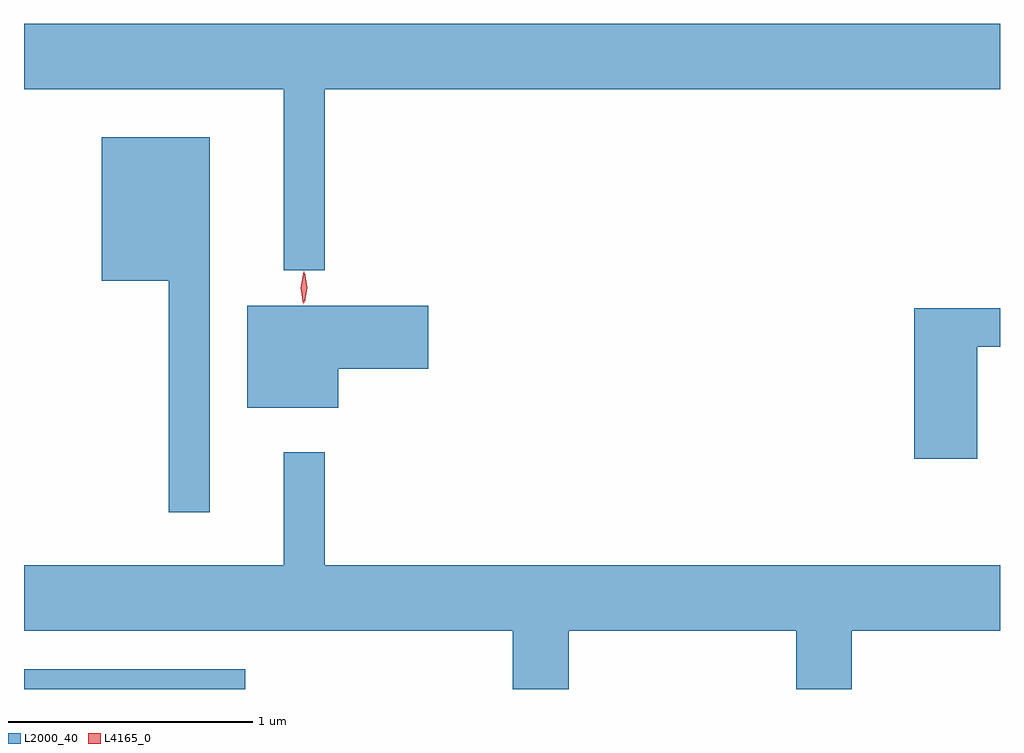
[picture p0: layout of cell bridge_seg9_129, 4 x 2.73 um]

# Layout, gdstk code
import gdstk
lib = gdstk.Library(unit=1e-6, precision=1e-09)
def R(c, l, rs):  # rectangles x0, y0, x1, y1
    for r in rs: c.add(gdstk.rectangle(r[:2], r[2:], *l))
def P(c, l, *ps):  # polygons
    for p in ps: c.add(gdstk.Polygon(p, *l))
L2000_40 = (2000, 40)
L4165_0 = (4165, 0)

bridge_seg9_129 = lib.new_cell('bridge_seg9_129')
R(bridge_seg9_129, L2000_40, [(1336.417,2022.657,1337.324,2022.739)])
P(bridge_seg9_129, L2000_40, [(1337.649,2025.116),(1340.417,2025.116),(1340.417,2025.384),(1336.417,2025.384),(1336.417,2025.116),(1337.481,2025.116),(1337.481,2024.373),(1337.649,2024.373)],
  [(1337.179,2024.919),(1336.736,2024.919),(1336.736,2024.331),(1337.011,2024.331),(1337.011,2023.383),(1337.179,2023.383)],
  [(1337.704,2023.971),(1338.074,2023.971),(1338.074,2024.229),(1337.331,2024.229),(1337.331,2023.811),(1337.704,2023.811)],
  [(1340.324,2024.061),(1340.417,2024.061),(1340.417,2024.219),(1340.066,2024.219),(1340.066,2023.601),(1340.324,2023.601)],
  [(1338.649,2022.896),(1339.581,2022.896),(1339.581,2022.657),(1339.809,2022.657),(1339.809,2022.896),(1340.417,2022.896),(1340.417,2023.164),(1337.649,2023.164),(1337.649,2023.628),(1337.481,2023.628),(1337.481,2023.164),(1336.417,2023.164),(1336.417,2022.896),(1338.421,2022.896),(1338.421,2022.657),(1338.649,2022.657)])
P(bridge_seg9_129, L4165_0, [(1337.561,2024.234),(1337.552,2024.302),(1337.563,2024.37),(1337.563,2024.37),(1337.564,2024.37),(1337.572,2024.302),(1337.562,2024.234),(1337.562,2024.234)],
  [(1337.568,2024.24),(1337.568,2024.24),(1337.558,2024.303),(1337.568,2024.366),(1337.568,2024.367),(1337.568,2024.366),(1337.578,2024.303),(1337.568,2024.24)])

lib.write_gds('bridge_seg9_129.gds')
